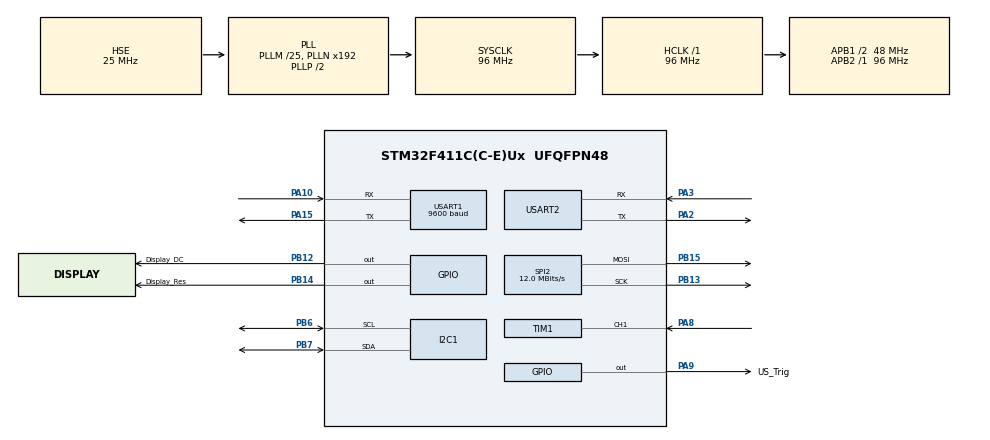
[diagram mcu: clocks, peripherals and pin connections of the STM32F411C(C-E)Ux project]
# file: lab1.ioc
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Mcu.Family=STM32F4
Mcu.Name=STM32F411C(C-E)Ux
Mcu.Package=UFQFPN48
NVIC.PriorityGroup=NVIC_PRIORITYGROUP_4
NVIC.TIM1_CC_IRQn=true\:0\:0\:false\:false\:true\:true\:true\:true
NVIC.USART2_IRQn=true\:0\:0\:false\:false\:true\:true\:true\:true
PA10.Mode=Asynchronous
PA10.Signal=USART1_RX
PA13.Mode=Trace_Asynchronous_SW
PA13.Signal=SYS_JTMS-SWDIO
PA14.Mode=Trace_Asynchronous_SW
PA14.Signal=SYS_JTCK-SWCLK
PA15.Mode=Asynchronous
PA15.Signal=USART1_TX
PA2.Mode=Asynchronous
PA2.Signal=USART2_TX
PA3.Mode=Asynchronous
PA3.Signal=USART2_RX
PA8.Signal=S_TIM1_CH1
PA9.GPIO_Label=US_Trig
PA9.Signal=GPIO_Output
PB12.GPIO_Label=Display_DC
PB12.GPIO_Speed=GPIO_SPEED_FREQ_HIGH
PB12.Signal=GPIO_Output
PB13.Mode=TX_Only_Simplex_Unidirect_Master
PB13.Signal=SPI2_SCK
PB14.GPIO_Label=Display_Res
PB14.GPIO_Speed=GPIO_SPEED_FREQ_HIGH
PB14.Signal=GPIO_Output
PB15.Mode=TX_Only_Simplex_Unidirect_Master
PB15.Signal=SPI2_MOSI
PB3.Mode=Trace_Asynchronous_SW
PB3.Signal=SYS_JTDO-SWO
PB6.Mode=I2C
PB6.Signal=I2C1_SCL
PB7.Mode=I2C
PB7.Signal=I2C1_SDA
PC14-OSC32_IN.Mode=LSE-External-Oscillator
PC14-OSC32_IN.Signal=RCC_OSC32_IN
PC15-OSC32_OUT.Mode=LSE-External-Oscillator
PC15-OSC32_OUT.Signal=RCC_OSC32_OUT
PH0\ -\ OSC_IN.Mode=HSE-External-Oscillator
PH0\ -\ OSC_IN.Signal=RCC_OSC_IN
PH1\ -\ OSC_OUT.Mode=HSE-External-Oscillator
PH1\ -\ OSC_OUT.Signal=RCC_OSC_OUT
ProjectManager.HeapSize=0x200
ProjectManager.StackSize=0x400
ProjectManager.TargetToolchain=STM32CubeIDE
RCC.48MHZClocksFreq_Value=48000000
RCC.AHBFreq_Value=96000000
RCC.APB1CLKDivider=RCC_HCLK_DIV2
RCC.APB1Freq_Value=48000000
RCC.APB1TimFreq_Value=96000000
RCC.APB2Freq_Value=96000000
RCC.APB2TimFreq_Value=96000000
RCC.CortexFreq_Value=96000000
RCC.HCLKFreq_Value=96000000
RCC.HSE_VALUE=25000000
RCC.HSI_VALUE=16000000
RCC.PLLM=25
RCC.PLLSourceVirtual=RCC_PLLSOURCE_HSE
RCC.SYSCLKFreq_VALUE=96000000
RCC.SYSCLKSource=RCC_SYSCLKSOURCE_PLLCLK
RCC.VCOOutputFreq_Value=192000000
SH.S_TIM1_CH1.0=TIM1_CH1,Input_Capture1_from_TI1
SPI2.BaudRatePrescaler=SPI_BAUDRATEPRESCALER_4
SPI2.CLKPhase=SPI_PHASE_2EDGE
SPI2.CLKPolarity=SPI_POLARITY_HIGH
SPI2.CalculateBaudRate=12.0 MBits/s
SPI2.Direction=SPI_DIRECTION_2LINES
SPI2.Mode=SPI_MODE_MASTER
SPI2.VirtualType=VM_MASTER
TIM1.Channel-Input_Capture1_from_TI1=TIM_CHANNEL_1
TIM1.Prescaler=95
USART1.BaudRate=9600
USART1.VirtualMode=VM_ASYNC
USART2.VirtualMode=VM_ASYNC
board=custom

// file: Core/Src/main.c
/* USER CODE BEGIN Header */
/**
  ******************************************************************************
  * @file           : main.c
  * @brief          : Main program body
  ******************************************************************************
  * @attention
  *
  * Copyright (c) 2025 STMicroelectronics.
  * All rights reserved.
  *
  * This software is licensed under terms that can be found in the LICENSE file
  * in the root directory of this software component.
  * If no LICENSE file comes with this software, it is provided AS-IS.
  *
  ******************************************************************************
  */
/* USER CODE END Header */
#include "main.h"

/* USER CODE BEGIN Includes */
#include "string.h"
#include <stdio.h>
#include <stdarg.h>
#include "display/display.h"
#include "accelerometer/accelerometer.h"
//#include "ultrassonic_sensor/ultrassonic_sensor.h"
#include "hc12/hc12.h"

/* USER CODE END Includes */

I2C_HandleTypeDef hi2c1;

SPI_HandleTypeDef hspi2;

TIM_HandleTypeDef htim1;

UART_HandleTypeDef huart1;
UART_HandleTypeDef huart2;

/* USER CODE BEGIN PV */
int16_t x_raw, y_raw, z_raw;
char display_buffer[50];
/* USER CODE END PV */

void SystemClock_Config(void);
static void MX_GPIO_Init(void);
static void MX_SPI2_Init(void);
static void MX_USART2_UART_Init(void);
static void MX_I2C1_Init(void);
static void MX_TIM1_Init(void);
static void MX_USART1_UART_Init(void);

/* USER CODE BEGIN 0 */
int _write(int file, char *ptr, int len){
  if (file == 1){
    HAL_UART_Transmit(&huart2, (uint8_t*)ptr, len, 10);
  }
  return len;
}
void print (const char *format, ...){
        va_list args;
        va_start(args, format);
        vprintf(format, args);
        va_end(args);
        fflush(stdout);
}

uint32_t IC_Val1 = 0;
uint32_t IC_Val2 = 0;
uint32_t Difference = 0;
uint8_t Is_First_Captured = 0;
float Distance  = 0;

#define TRIG_PIN GPIO_PIN_9
#define TRIG_PORT GPIOA

void HAL_TIM_IC_CaptureCallback(TIM_HandleTypeDef *htim) {
	if (htim->Channel == HAL_TIM_ACTIVE_CHANNEL_1) {
		if (Is_First_Captured==0) {
			IC_Val1 = HAL_TIM_ReadCapturedValue(htim, TIM_CHANNEL_1);
			Is_First_Captured = 1;
			__HAL_TIM_SET_CAPTUREPOLARITY(htim, TIM_CHANNEL_1, TIM_INPUTCHANNELPOLARITY_FALLING);
		}

		else if (Is_First_Captured==1) {
			IC_Val2 = HAL_TIM_ReadCapturedValue(htim, TIM_CHANNEL_1);
			__HAL_TIM_SET_COUNTER(htim, 0);

			if (IC_Val2 > IC_Val1) {
				Difference = IC_Val2-IC_Val1;
			}

			else if (IC_Val1 > IC_Val2){
				Difference = (0xffff - IC_Val1) + IC_Val2;
			}

			Distance = Difference * .034/2;
			Is_First_Captured = 0;

			__HAL_TIM_SET_CAPTUREPOLARITY(htim, TIM_CHANNEL_1, TIM_INPUTCHANNELPOLARITY_RISING);
			__HAL_TIM_DISABLE_IT(&htim1, TIM_IT_CC1);
		}
	}
}

void delay(uint16_t time){
	__HAL_TIM_SET_COUNTER(&htim1, 0);
	while(__HAL_TIM_GET_COUNTER(&htim1) < time);
}

void HCSR04_Read (void){
	HAL_GPIO_WritePin(TRIG_PORT, TRIG_PIN, GPIO_PIN_SET);
	delay(10);
	HAL_GPIO_WritePin(TRIG_PORT, TRIG_PIN, GPIO_PIN_RESET);

	__HAL_TIM_ENABLE_IT(&htim1, TIM_IT_CC1);
}

/* USER CODE END 0 */

int main(void)
{

  /* MCU Configuration--------------------------------------------------------*/

  /* Reset of all peripherals, Initializes the Flash interface and the Systick. */
  HAL_Init();

  /* Configure the system clock */
  SystemClock_Config();

  /* Initialize all configured peripherals */
  MX_GPIO_Init();
  MX_SPI2_Init();
  MX_USART2_UART_Init();
  MX_I2C1_Init();
  MX_TIM1_Init();
  MX_USART1_UART_Init();
  /* USER CODE BEGIN 2 */

  HAL_TIM_IC_Start(&htim1, TIM_CHANNEL_1);
  display_init();

  display_fillScreen(BLACK);
  display_writeString(10, 10, "Initializing ADXL345...!", &Font11x18, WHITE, BLACK);
  HAL_Delay(1000);

//  ultrassonic_sensor_init();
  print("Sensor init complete.\r\n");

  uint8_t init_status = accelerometer_init();

  if (init_status == ACCELEROMETER_OK) {
	  display_fillScreen(BLACK);
	  display_writeString(10, 10, "ADXL345 OK!", &Font11x18, GREEN, BLACK);
  } else {
	  display_fillScreen(BLACK);
      char error_buffer[30];
      sprintf(error_buffer, "ADXL345 Err: %d", init_status);
      display_writeString(10, 10, error_buffer, &Font11x18, RED, BLACK);

      // Halt the program on failure to keep the error message on screen
      while(1);
  }

  HAL_Delay(1000); // Wait a moment
  display_fillScreen(BLACK);

  HAL_Delay(1000);
  /* USER CODE END 2 */

  /* Infinite loop */
  /* USER CODE BEGIN WHILE */
  while (1)
  {
    // 1. Read the raw sensor data
	print("Yes\r\n");
    accelerometer_read_XYZ(&x_raw, &y_raw, &z_raw);
    HCSR04_Read();

    // 2. Convert raw data to milli-g's (mg)
    float x_mg = x_raw * 4.0f;
    float y_mg = y_raw * 4.0f;
    float z_mg = z_raw * 4.0f;

    // 3. Format the data into strings to be displayed
    // Use "%.0f" to print the float with no decimal places
    sprintf(display_buffer, "X: %.0f mg ", x_mg);
    display_writeString(40, 80, display_buffer, &Font11x18, WHITE, BLACK);

    sprintf(display_buffer, "Y: %.0f mg ", y_mg);
    display_writeString(40, 110, display_buffer, &Font11x18, WHITE, BLACK);

    sprintf(display_buffer, "Z: %.0f mg ", z_mg);
    display_writeString(40, 140, display_buffer, &Font11x18, z_mg < 500 ? RED : WHITE, BLACK);

//    ultrassonic_sensor_read();
//    float distance = ultrassonic_sensor_get_dist_cm();
    sprintf(display_buffer, "Distance: %.2f cm ", Distance);

    sprintf(display_buffer, "[XXX] %.2f,%.2f,%.2f,%.2f --------------------", x_mg,y_mg,z_mg,Distance);
    display_writeString(40, 170, display_buffer, &Font11x18, WHITE, BLACK);
    HC12_sendData(x_mg, y_mg, z_mg, Distance);

//    print("Distance: %d cm\r\n", distance);

    // 4. Wait before the next reading
    HAL_Delay(100);

    /* USER CODE END WHILE */

  }
}

void SystemClock_Config(void)
{
  RCC_OscInitTypeDef RCC_OscInitStruct = {0};
  RCC_ClkInitTypeDef RCC_ClkInitStruct = {0};

  /** Configure the main internal regulator output voltage
  */
  __HAL_RCC_PWR_CLK_ENABLE();
  __HAL_PWR_VOLTAGESCALING_CONFIG(PWR_REGULATOR_VOLTAGE_SCALE1);

  /** Initializes the RCC Oscillators according to the specified parameters
  * in the RCC_OscInitTypeDef structure.
  */
  RCC_OscInitStruct.OscillatorType = RCC_OSCILLATORTYPE_HSE;
  RCC_OscInitStruct.HSEState = RCC_HSE_ON;
  RCC_OscInitStruct.PLL.PLLState = RCC_PLL_ON;
  RCC_OscInitStruct.PLL.PLLSource = RCC_PLLSOURCE_HSE;
  RCC_OscInitStruct.PLL.PLLM = 25;
  RCC_OscInitStruct.PLL.PLLN = 192;
  RCC_OscInitStruct.PLL.PLLP = RCC_PLLP_DIV2;
  RCC_OscInitStruct.PLL.PLLQ = 4;
  if (HAL_RCC_OscConfig(&RCC_OscInitStruct) != HAL_OK)
  {
    Error_Handler();
  }

  /** Initializes the CPU, AHB and APB buses clocks
  */
  RCC_ClkInitStruct.ClockType = RCC_CLOCKTYPE_HCLK|RCC_CLOCKTYPE_SYSCLK
                              |RCC_CLOCKTYPE_PCLK1|RCC_CLOCKTYPE_PCLK2;
  RCC_ClkInitStruct.SYSCLKSource = RCC_SYSCLKSOURCE_PLLCLK;
  RCC_ClkInitStruct.AHBCLKDivider = RCC_SYSCLK_DIV1;
  RCC_ClkInitStruct.APB1CLKDivider = RCC_HCLK_DIV2;
  RCC_ClkInitStruct.APB2CLKDivider = RCC_HCLK_DIV1;

  if (HAL_RCC_ClockConfig(&RCC_ClkInitStruct, FLASH_LATENCY_3) != HAL_OK)
  {
    Error_Handler();
  }
}

static void MX_I2C1_Init(void)
{

  hi2c1.Instance = I2C1;
  hi2c1.Init.ClockSpeed = 100000;
  hi2c1.Init.DutyCycle = I2C_DUTYCYCLE_2;
  hi2c1.Init.OwnAddress1 = 0;
  hi2c1.Init.AddressingMode = I2C_ADDRESSINGMODE_7BIT;
  hi2c1.Init.DualAddressMode = I2C_DUALADDRESS_DISABLE;
  hi2c1.Init.OwnAddress2 = 0;
  hi2c1.Init.GeneralCallMode = I2C_GENERALCALL_DISABLE;
  hi2c1.Init.NoStretchMode = I2C_NOSTRETCH_DISABLE;
  if (HAL_I2C_Init(&hi2c1) != HAL_OK)
  {
    Error_Handler();
  }

}

static void MX_SPI2_Init(void)
{

  /* SPI2 parameter configuration*/
  hspi2.Instance = SPI2;
  hspi2.Init.Mode = SPI_MODE_MASTER;
  hspi2.Init.Direction = SPI_DIRECTION_2LINES;
  hspi2.Init.DataSize = SPI_DATASIZE_8BIT;
  hspi2.Init.CLKPolarity = SPI_POLARITY_HIGH;
  hspi2.Init.CLKPhase = SPI_PHASE_2EDGE;
  hspi2.Init.NSS = SPI_NSS_SOFT;
  hspi2.Init.BaudRatePrescaler = SPI_BAUDRATEPRESCALER_4;
  hspi2.Init.FirstBit = SPI_FIRSTBIT_MSB;
  hspi2.Init.TIMode = SPI_TIMODE_DISABLE;
  hspi2.Init.CRCCalculation = SPI_CRCCALCULATION_DISABLE;
  hspi2.Init.CRCPolynomial = 10;
  if (HAL_SPI_Init(&hspi2) != HAL_OK)
  {
    Error_Handler();
  }

}

static void MX_TIM1_Init(void)
{

  TIM_MasterConfigTypeDef sMasterConfig = {0};
  TIM_IC_InitTypeDef sConfigIC = {0};

  htim1.Instance = TIM1;
  htim1.Init.Prescaler = 95;
  htim1.Init.CounterMode = TIM_COUNTERMODE_UP;
  htim1.Init.Period = 65535;
  htim1.Init.ClockDivision = TIM_CLOCKDIVISION_DIV1;
  htim1.Init.RepetitionCounter = 0;
  htim1.Init.AutoReloadPreload = TIM_AUTORELOAD_PRELOAD_DISABLE;
  if (HAL_TIM_IC_Init(&htim1) != HAL_OK)
  {
    Error_Handler();
  }
  sMasterConfig.MasterOutputTrigger = TIM_TRGO_RESET;
  sMasterConfig.MasterSlaveMode = TIM_MASTERSLAVEMODE_DISABLE;
  if (HAL_TIMEx_MasterConfigSynchronization(&htim1, &sMasterConfig) != HAL_OK)
  {
    Error_Handler();
  }
  sConfigIC.ICPolarity = TIM_INPUTCHANNELPOLARITY_RISING;
  sConfigIC.ICSelection = TIM_ICSELECTION_DIRECTTI;
  sConfigIC.ICPrescaler = TIM_ICPSC_DIV1;
  sConfigIC.ICFilter = 0;
  if (HAL_TIM_IC_ConfigChannel(&htim1, &sConfigIC, TIM_CHANNEL_1) != HAL_OK)
  {
    Error_Handler();
  }

}

static void MX_USART1_UART_Init(void)
{

  huart1.Instance = USART1;
  huart1.Init.BaudRate = 9600;
  huart1.Init.WordLength = UART_WORDLENGTH_8B;
  huart1.Init.StopBits = UART_STOPBITS_1;
  huart1.Init.Parity = UART_PARITY_NONE;
  huart1.Init.Mode = UART_MODE_TX_RX;
  huart1.Init.HwFlowCtl = UART_HWCONTROL_NONE;
  huart1.Init.OverSampling = UART_OVERSAMPLING_16;
  if (HAL_UART_Init(&huart1) != HAL_OK)
  {
    Error_Handler();
  }

}

static void MX_USART2_UART_Init(void)
{

  huart2.Instance = USART2;
  huart2.Init.BaudRate = 115200;
  huart2.Init.WordLength = UART_WORDLENGTH_8B;
  huart2.Init.StopBits = UART_STOPBITS_1;
  huart2.Init.Parity = UART_PARITY_NONE;
  huart2.Init.Mode = UART_MODE_TX_RX;
  huart2.Init.HwFlowCtl = UART_HWCONTROL_NONE;
  huart2.Init.OverSampling = UART_OVERSAMPLING_16;
  if (HAL_UART_Init(&huart2) != HAL_OK)
  {
    Error_Handler();
  }

}

static void MX_GPIO_Init(void)
{
  GPIO_InitTypeDef GPIO_InitStruct = {0};

  /* GPIO Ports Clock Enable */
  __HAL_RCC_GPIOC_CLK_ENABLE();
  __HAL_RCC_GPIOH_CLK_ENABLE();
  __HAL_RCC_GPIOA_CLK_ENABLE();
  __HAL_RCC_GPIOB_CLK_ENABLE();

  /*Configure GPIO pin Output Level */
  HAL_GPIO_WritePin(GPIOB, Display_DC_Pin|Display_Res_Pin, GPIO_PIN_RESET);

  /*Configure GPIO pin Output Level */
  HAL_GPIO_WritePin(US_Trig_GPIO_Port, US_Trig_Pin, GPIO_PIN_RESET);

  /*Configure GPIO pins : Display_DC_Pin Display_Res_Pin */
  GPIO_InitStruct.Pin = Display_DC_Pin|Display_Res_Pin;
  GPIO_InitStruct.Mode = GPIO_MODE_OUTPUT_PP;
  GPIO_InitStruct.Pull = GPIO_NOPULL;
  GPIO_InitStruct.Speed = GPIO_SPEED_FREQ_HIGH;
  HAL_GPIO_Init(GPIOB, &GPIO_InitStruct);

  /*Configure GPIO pin : US_Trig_Pin */
  GPIO_InitStruct.Pin = US_Trig_Pin;
  GPIO_InitStruct.Mode = GPIO_MODE_OUTPUT_PP;
  GPIO_InitStruct.Pull = GPIO_NOPULL;
  GPIO_InitStruct.Speed = GPIO_SPEED_FREQ_LOW;
  HAL_GPIO_Init(US_Trig_GPIO_Port, &GPIO_InitStruct);

}

void Error_Handler(void)
{
  __disable_irq();
  while (1)
  {
  }
}
